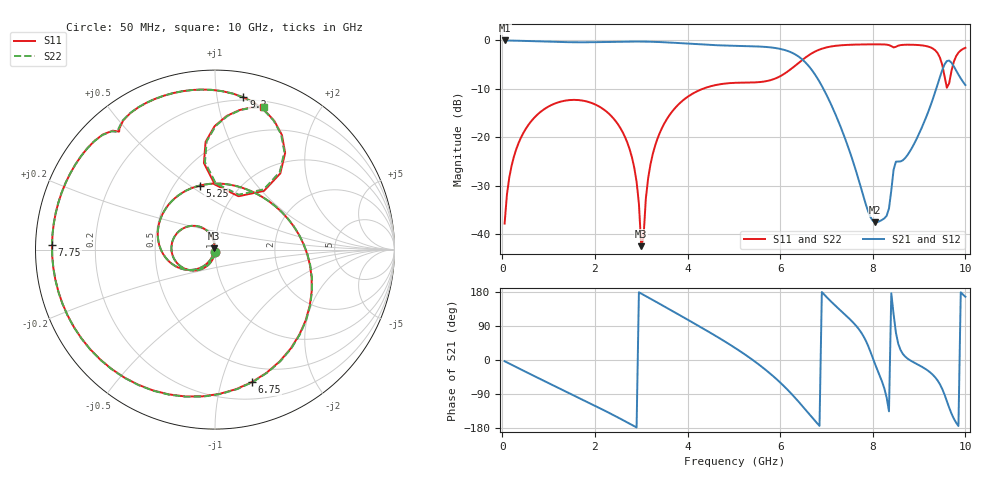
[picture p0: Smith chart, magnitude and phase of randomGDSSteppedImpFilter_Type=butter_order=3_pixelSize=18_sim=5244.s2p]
! freq	dB(S11)	phase(S11)	dB(S12)	phase(S12)
!  dB(S21)	phase(S21)	dB(S22)	phase(S22)
!S-par simulation data
#  GHz  S  DB  R 50
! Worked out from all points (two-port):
!   200 points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, 50 MHz to 10 GHz, reference 50 ohm
!   highest |S21| = 0.00 dB at 50 MHz (marker M1); lowest = -37.6 dB at 8.05 GHz (marker M2)
!   |S21| within 3 dB of the highest: start of sweep to 6.345 GHz
!   lowest |S11| = -42.5 dB at 3 GHz (marker M3), VSWR 1.02, Z = 49.6 + j0.615 ohm
!   |S11| at or under -10 dB: start of sweep to 4.328 GHz
!   |S22| runs from -43.0 to -0.8 dB; largest |S21 - S12| = 0
!   S11 on the Smith chart (normalised r, x): 50 MHz: 1.00, -0.03; 5.25 GHz: 0.66, +0.55; 6.75 GHz: 0.35, -1.26; 7.75 GHz: 0.05, +0.01; 9.2 GHz: 0.18, +1.19; 10 GHz: 0.25, +1.36
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0.05  -37.85 -92.7  -0.00 -3.1  -0.00 -3.1  -37.84 -92.7
0.5  -18.38 -121.3  -0.11 -30.9  -0.11 -30.9  -18.38 -121.3
1.75  -12.46 164.1  -0.38 -105.5  -0.38 -105.5  -12.46 164.0
2.7  -21.11 106.8  -0.24 -164.8  -0.24 -164.8  -21.11 106.2
2.9  -29.22 97.6  -0.23 -178.0  -0.23 -178.0  -29.24 96.3
3  -42.51 124.1  -0.24 175.3  -0.24 175.3  -42.96 120.6
3.15  -28.43 -111.3  -0.26 165.2  -0.26 165.2  -28.44 -110.4
3.4  -19.11 -124.5  -0.33 148.1  -0.33 148.1  -19.11 -124.2
4.2  -10.53 -178.2  -0.78 92.6  -0.78 92.6  -10.54 -178.3
5.05  -8.75 119.9  -1.12 30.0  -1.12 30.0  -8.75 119.6
5.25  -8.71 103.6  -1.16 13.7  -1.16 13.7  -8.71 103.3
6.1  -6.83 17.1  -1.98 -71.1  -1.98 -71.1  -6.82 17.2
6.7  -2.57 -67.2  -6.32 -153.0  -6.32 -153.0  -2.57 -66.7
6.75  -2.31 -74.4  -7.00 -160.1  -7.00 -160.1  -2.31 -73.8
7.25  -1.06 -136.5  -16.53 136.7  -16.53 136.7  -1.05 -135.9
7.75  -0.83 178.3  -30.59 72.6  -30.59 72.6  -0.83 178.9
8.05  -0.80 155.9  -37.55 -11.0  -37.55 -11.0  -0.80 156.3
8.35  -0.96 134.2  -34.69 -135.4  -34.69 -135.4  -0.96 134.7
8.5  -1.31 128.3  -25.05 71.9  -25.05 71.9  -1.29 128.6
9.2  -1.28 79.4  -14.69 -28.9  -14.69 -28.9  -1.27 79.8
9.6  -9.77 66.3  -4.25 -108.5  -4.25 -108.5  -9.54 66.6
10  -1.52 71.4  -9.21 166.9  -9.21 166.9  -1.52 71.1
